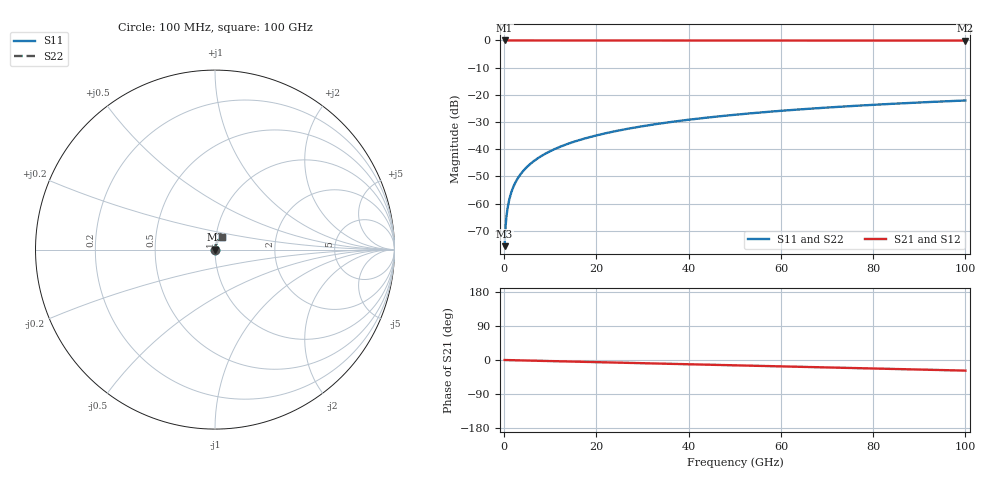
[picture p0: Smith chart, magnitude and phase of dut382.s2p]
! Touchstone file exported from HFSS 2026.1.0
!  File:  C:/ffzhzh/LocalFiles/Ansys_Project_Files/temp_train_TSV_382_1783510529_55944.aedt
!  Generated:  07:36:43 PM Jul  8, 2026
!  Design:  TSV
!  Project:  temp_train_TSV_382_1783510529_55944
! Variables:
!  h_bsmrdl = 2um
!  h_ox = 20um
!  h_rdl = 5um
!  h_sub = 51.06um
!  h_tmrdl = 5um
!  h_tsv = 51.06um
!  h_via = 3um
!  l_bsmrdl = 300um
!  l_sub = 417.34um
!  l_tmrdl = 200um
!  m_sub = 200um
!  pitch = 42.72um
!  r_tsv = 8.67um
!  s_tmrdl = 10um
!  w_bsmrdl = 18um
!  w_sub = 500um
!  w_tmrdl = 12um
!  x_tsv_center1 = 206um
!  x_tsv_center2 = 524um
!  x_tsv_center3 = 736um
!  x_tsv_center4 = 1054um
!  x_tsv_center5 = 1266um
!  x_tsv_center6 = 1584um
# GHz S MA R 50.000000
! Terminal data exported
! Port[1] = TSV1_1_T1
! Port[2] = TSV1_1_T2
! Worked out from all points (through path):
!   1000 points, 100 MHz to 100 GHz, reference 50 ohm
!   highest |S21| = 0.00 dB at 100 MHz (marker M1); lowest = 0.0 dB at 100 GHz (marker M2)
!   group delay of S21, straight-line fit = 777 fs
!   lowest |S11| = -75.6 dB at 100 MHz (marker M3), VSWR 1.00, Z = 50 + j0.0121 ohm
!   |S11| at or under -10 dB: start of sweep to end of sweep
!   |S22| runs from -75.6 to -22.1 dB; largest |S21 - S12| = 4.5e-15
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0.1  0.0001654 46.8  0.9999 -0.0  0.9999 -0.0  0.0001654 46.8
! Gamma 0 0 0 0
! Port Impedance 50 0 50 0
0.4  0.0004792 71.5  0.9998 -0.1  0.9998 -0.1  0.0004792 71.5
0.7  0.0007814 76.0  0.9998 -0.2  0.9998 -0.2  0.0007814 76.0
0.8  0.0008801 76.9  0.9998 -0.2  0.9998 -0.2  0.0008801 76.9
1.1  0.001174 78.7  0.9998 -0.3  0.9998 -0.3  0.001174 78.7
1.4  0.001465 79.8  0.9997 -0.4  0.9997 -0.4  0.001465 79.8
1.9  0.001943 80.8  0.9997 -0.5  0.9997 -0.5  0.001943 80.8
2.4  0.002412 81.4  0.9997 -0.7  0.9997 -0.7  0.002412 81.4
3.1  0.003057 81.9  0.9996 -0.9  0.9996 -0.9  0.003057 81.9
3.9  0.003784 82.3  0.9996 -1.1  0.9996 -1.1  0.003784 82.3
4.9  0.004685 82.7  0.9995 -1.4  0.9995 -1.4  0.004685 82.7
6.1  0.005761 82.9  0.9994 -1.7  0.9994 -1.7  0.005761 82.9
8.9  0.008255 83.0  0.9993 -2.5  0.9993 -2.5  0.008255 83.0
12.4  0.01135 82.5  0.9992 -3.5  0.9992 -3.5  0.01135 82.5
16.8  0.01519 81.8  0.999 -4.7  0.999 -4.7  0.01519 81.8
24.2  0.02157 80.3  0.9987 -6.8  0.9987 -6.8  0.02157 80.3
33.4  0.02939 78.2  0.9983 -9.4  0.9983 -9.4  0.02939 78.2
41.2  0.03588 76.2  0.9979 -11.6  0.9979 -11.6  0.03588 76.2
50.1  0.04311 73.9  0.9975 -14.0  0.9975 -14.0  0.04311 73.9
66.7  0.05597 69.4  0.9966 -18.7  0.9966 -18.7  0.05597 69.5
83.4  0.06796 64.9  0.9957 -23.4  0.9957 -23.4  0.06796 65.0
100  0.07884 60.5  0.9946 -28.0  0.9946 -28.0  0.07884 60.5
